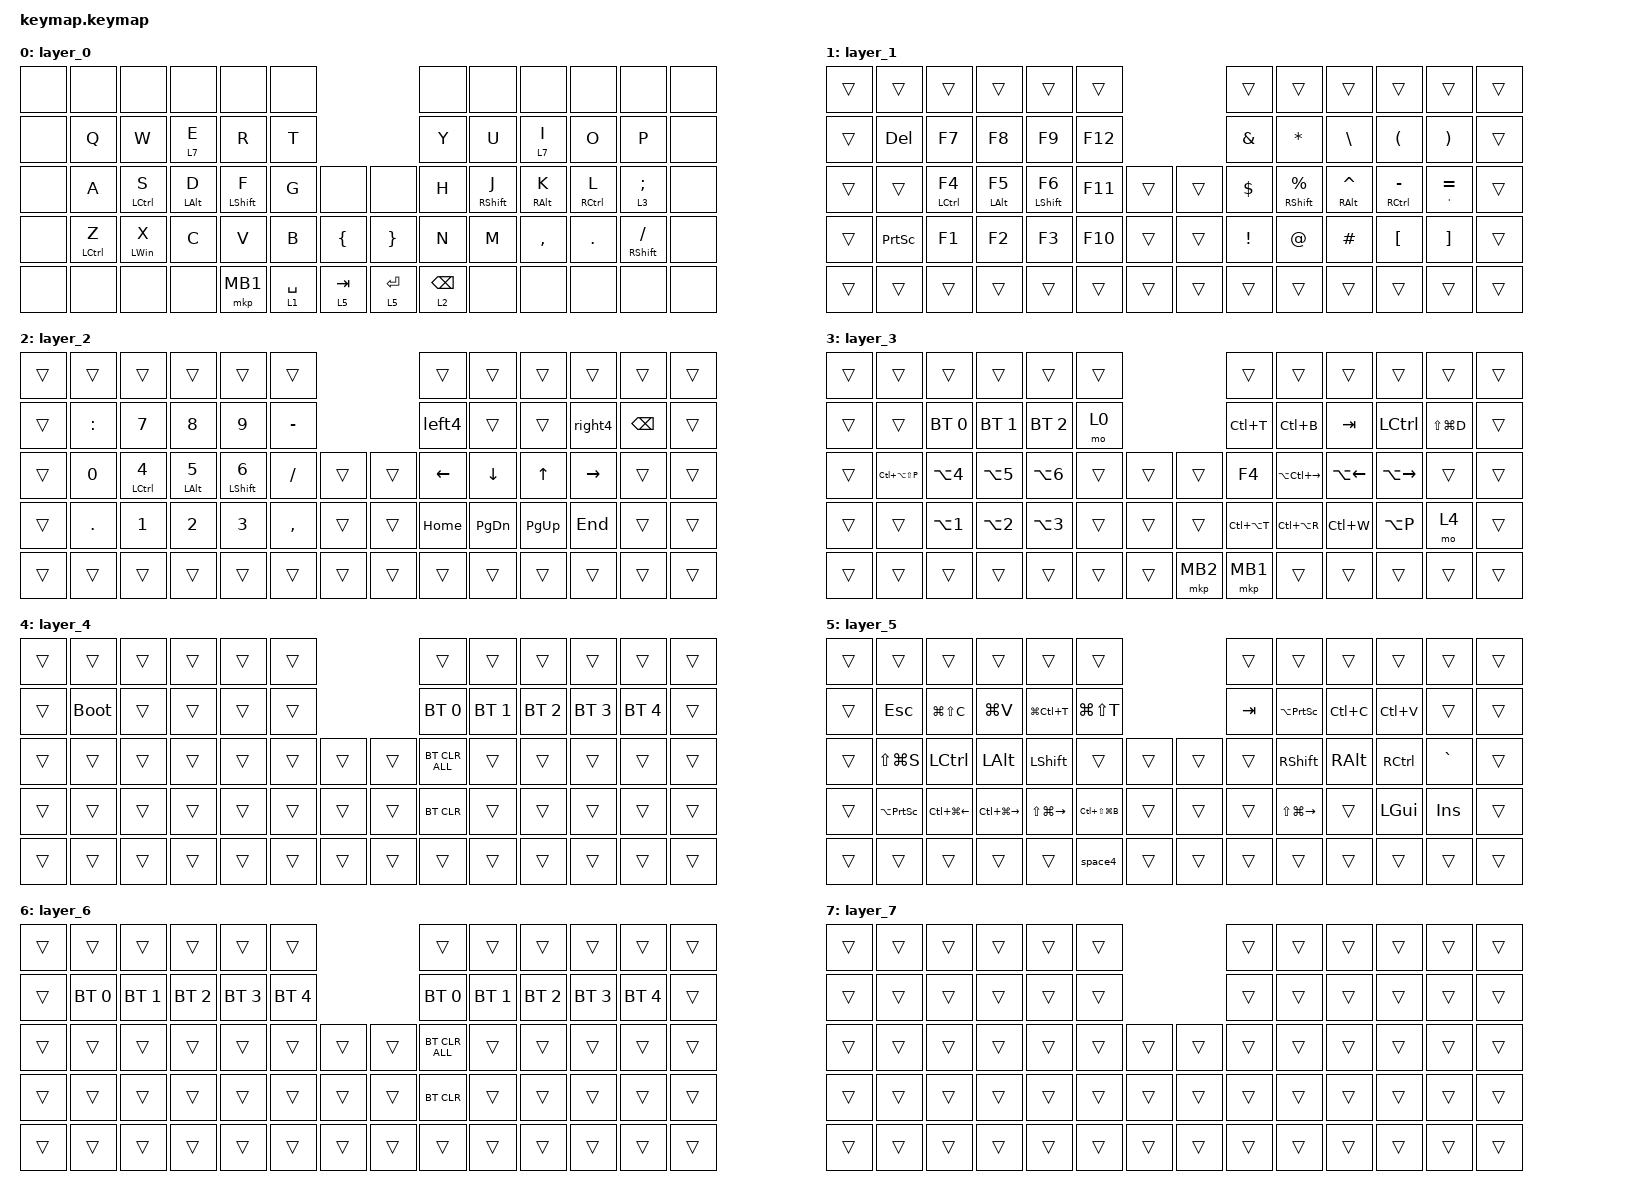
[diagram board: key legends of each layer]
#include <behaviors.dtsi>
#include <dt-bindings/zmk/bt.h>
#include <dt-bindings/zmk/keys.h>
#include <dt-bindings/zmk/pointing.h>

&mt {
    flavor = "balanced";
    quick-tap-ms = <300>;
};

&lt { quick-tap-ms = <300>; };

/ {
    combos {
        compatible = "zmk,combos";

        delete {
            bindings = <&kp DELETE>;
            key-positions = <21 22>;
        };

        esc {
            bindings = <&kp ESCAPE>;
            key-positions = <13 14>;
        };

        minus {
            bindings = <&kp MINUS>;
            key-positions = <36 35>;
        };

        single {
            bindings = <&kp SINGLE_QUOTE>;
            key-positions = <49 50>;
        };

        eng {
            bindings = <&kp LANG2>;
            key-positions = <42 41>;
        };

        jp {
            bindings = <&kp LANGUAGE_1>;
            key-positions = <47 48>;
        };

        mb2 {
            bindings = <&mkp MB2>;
            key-positions = <28 27>;
        };

        mb3 {
            bindings = <&mkp MB3>;
            key-positions = <40 39>;
        };
    };

    macros {
        space4: space4 {
            compatible = "zmk,behavior-macro";
            #binding-cells = <0>;
            bindings = <&kp SPACE &kp SPACE &kp SPACE &kp SPACE>;
            label = "SPACE4";
        };

        left4: left4 {
            compatible = "zmk,behavior-macro";
            #binding-cells = <0>;
            bindings = <&kp LEFT &kp LEFT &kp LEFT &kp LEFT>;
            label = "LEFT4";
        };

        right4: right4 {
            compatible = "zmk,behavior-macro";
            #binding-cells = <0>;
            bindings = <&kp RIGHT &kp RIGHT &kp RIGHT &kp RIGHT>;
            label = "RIGHT4";
        };
    };

    keymap {
        compatible = "zmk,keymap";

        layer_0 {
            bindings = <
&none  &none        &none        &none           &none         &none                                         &none            &none         &none            &none        &none                 &none
&none  &kp Q        &kp W        &lt 7 E         &kp R         &kp T                                         &kp Y            &kp U         &lt 7 I          &kp O        &kp P                 &none
&none  &kp A        &mt LCTRL S  &mt LEFT_ALT D  &mt LSHIFT F  &kp G        &none           &none            &kp H            &mt RSHIFT J  &mt RIGHT_ALT K  &mt RCTRL L  &lt 3 SEMICOLON       &none
&none  &mt LCTRL Z  &mt LWIN X   &kp C           &kp V         &kp B        &kp LEFT_BRACE  &kp RIGHT_BRACE  &kp N            &kp M         &kp COMMA        &kp DOT      &mt RIGHT_SHIFT FSLH  &none
&none  &none        &none        &none           &mkp MB1      &lt 1 SPACE  &lt 5 TAB       &lt 5 ENTER      &lt 2 BACKSPACE  &none         &none            &none        &none                 &none
            >;
        };

        layer_1 {
            bindings = <
&trans  &trans           &trans        &trans           &trans         &trans                   &trans           &trans              &trans               &trans                &trans                  &trans
&trans  &kp DELETE       &kp F7        &kp F8           &kp F9         &kp F12                  &kp AMPERSAND    &kp ASTERISK        &kp BACKSLASH        &kp LEFT_PARENTHESIS  &kp RIGHT_PARENTHESIS   &trans
&trans  &trans           &mt LCTRL F4  &mt LEFT_ALT F5  &mt LSHIFT F6  &kp F11  &trans  &trans  &kp DOLLAR       &mt RSHIFT PERCENT  &mt RIGHT_ALT CARET  &mt RCTRL MINUS       &mt SINGLE_QUOTE EQUAL  &trans
&trans  &kp PRINTSCREEN  &kp F1        &kp F2           &kp F3         &kp F10  &trans  &trans  &kp EXCLAMATION  &kp AT_SIGN         &kp HASH             &kp LBKT              &kp RBKT                &trans
&trans  &trans           &trans        &trans           &trans         &trans   &trans  &trans  &trans           &trans              &trans               &trans                &trans                  &trans
            >;
        };

        layer_2 {
            bindings = <
&trans  &trans     &trans              &trans           &trans               &trans                     &trans    &trans         &trans        &trans     &trans         &trans
&trans  &kp COLON  &kp N7              &kp N8           &kp N9               &kp MINUS                  &left4    &trans         &trans        &right4    &kp BACKSPACE  &trans
&trans  &kp N0     &mt LCTRL NUMBER_4  &mt LEFT_ALT N5  &mt LSHIFT NUMBER_6  &kp FSLH   &trans  &trans  &kp LEFT  &kp DOWN       &kp UP_ARROW  &kp RIGHT  &trans         &trans
&trans  &kp DOT    &kp N1              &kp N2           &kp N3               &kp COMMA  &trans  &trans  &kp HOME  &kp PAGE_DOWN  &kp PAGE_UP   &kp END    &trans         &trans
&trans  &trans     &trans              &trans           &trans               &trans     &trans  &trans  &trans    &trans         &trans        &trans     &trans         &trans
            >;
        };

        layer_3 {
            bindings = <
&trans  &trans             &trans        &trans        &trans        &trans                    &trans         &trans             &trans        &trans         &trans         &trans
&trans  &trans             &bt BT_SEL 0  &bt BT_SEL 1  &bt BT_SEL 2  &mo 0                     &kp LC(T)      &kp LC(B)          &kp TAB       &kp LCTRL      &kp LS(LG(D))  &trans
&trans  &kp LC(LA(LS(P)))  &kp LA(N4)    &kp LA(N5)    &kp LA(N6)    &trans  &trans  &trans    &kp F4         &kp LA(LC(RIGHT))  &kp LA(LEFT)  &kp LA(RIGHT)  &trans         &trans
&trans  &trans             &kp LA(N1)    &kp LA(N2)    &kp LA(N3)    &trans  &trans  &trans    &kp LC(LA(T))  &kp LC(LA(R))      &kp LC(W)     &kp LA(P)      &mo 4          &trans
&trans  &trans             &trans        &trans        &trans        &trans  &trans  &mkp MB2  &mkp MB1       &trans             &trans        &trans         &trans         &trans
            >;
        };

        layer_4 {
            bindings = <
&trans  &trans       &trans  &trans  &trans  &trans                  &trans          &trans        &trans        &trans        &trans        &trans
&trans  &bootloader  &trans  &trans  &trans  &trans                  &bt BT_SEL 0    &bt BT_SEL 1  &bt BT_SEL 2  &bt BT_SEL 3  &bt BT_SEL 4  &trans
&trans  &trans       &trans  &trans  &trans  &trans  &trans  &trans  &bt BT_CLR_ALL  &trans        &trans        &trans        &trans        &trans
&trans  &trans       &trans  &trans  &trans  &trans  &trans  &trans  &bt BT_CLR      &trans        &trans        &trans        &trans        &trans
&trans  &trans       &trans  &trans  &trans  &trans  &trans  &trans  &trans          &trans        &trans        &trans        &trans        &trans
            >;
        };

        layer_5 {
            bindings = <
&trans  &trans               &trans            &trans             &trans             &trans                             &trans   &trans               &trans     &trans     &trans     &trans
&trans  &kp ESC              &kp LG(LS(C))     &kp LG(V)          &kp LG(LC(T))      &kp LG(LS(T))                      &kp TAB  &kp LA(PRINTSCREEN)  &kp LC(C)  &kp LC(V)  &trans     &trans
&trans  &kp LS(LG(S))        &kp LCTRL         &kp LALT           &kp LSHFT          &trans             &trans  &trans  &trans   &kp RSHFT            &kp RALT   &kp RCTRL  &kp GRAVE  &trans
&trans  &kp LA(PRINTSCREEN)  &kp LC(LG(LEFT))  &kp LC(LG(RIGHT))  &kp LS(LG(RIGHT))  &kp LC(LS(LG(B)))  &trans  &trans  &trans   &kp LS(LG(RIGHT))    &trans     &kp LGUI   &kp INS    &trans
&trans  &trans               &trans            &trans             &trans             &space4            &trans  &trans  &trans   &trans               &trans     &trans     &trans     &trans
            >;
        };

        layer_6 {
            bindings = <
&trans  &trans        &trans        &trans        &trans        &trans                        &trans          &trans        &trans        &trans        &trans        &trans
&trans  &bt BT_SEL 0  &bt BT_SEL 1  &bt BT_SEL 2  &bt BT_SEL 3  &bt BT_SEL 4                  &bt BT_SEL 0    &bt BT_SEL 1  &bt BT_SEL 2  &bt BT_SEL 3  &bt BT_SEL 4  &trans
&trans  &trans        &trans        &trans        &trans        &trans        &trans  &trans  &bt BT_CLR_ALL  &trans        &trans        &trans        &trans        &trans
&trans  &trans        &trans        &trans        &trans        &trans        &trans  &trans  &bt BT_CLR      &trans        &trans        &trans        &trans        &trans
&trans  &trans        &trans        &trans        &trans        &trans        &trans  &trans  &trans          &trans        &trans        &trans        &trans        &trans
            >;
        };

        layer_7 {
            bindings = <
&trans  &trans  &trans  &trans  &trans  &trans                  &trans  &trans  &trans  &trans  &trans  &trans
&trans  &trans  &trans  &trans  &trans  &trans                  &trans  &trans  &trans  &trans  &trans  &trans
&trans  &trans  &trans  &trans  &trans  &trans  &trans  &trans  &trans  &trans  &trans  &trans  &trans  &trans
&trans  &trans  &trans  &trans  &trans  &trans  &trans  &trans  &trans  &trans  &trans  &trans  &trans  &trans
&trans  &trans  &trans  &trans  &trans  &trans  &trans  &trans  &trans  &trans  &trans  &trans  &trans  &trans
            >;
        };
    };
};
